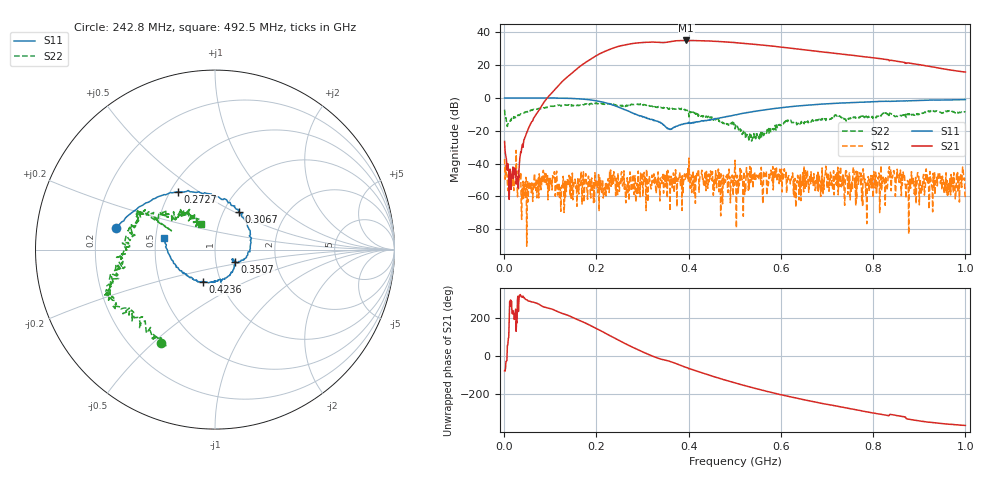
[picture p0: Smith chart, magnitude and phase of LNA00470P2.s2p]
! Created with skrf 1.9.0 (http://scikit-rf.org).
# Hz S RI R 50.0
!freq ReS11 ImS11 ReS21 ImS21 ReS12 ImS12 ReS22 ImS22
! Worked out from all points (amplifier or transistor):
!   1001 points, 1 MHz to 1 GHz, reference 50 ohm
!   highest |S21| = 35.1 dB at 394.6 MHz (marker M1)
!   |S21| within 3 dB of that: 256.9 MHz to 565.8 MHz (308.9 MHz wide, 75.1 % of centre)
!   unconditionally stable (mu >= 1): 259.8 MHz to 290.7 MHz; 290.7 MHz to 400.5 MHz; 400.7 MHz to end of sweep (the widest 3 of 40)
!   at 166.8 MHz: K = 1.30, MAG = 29.0 dB, |S12| = -44.8 dB
!   at 500.5 MHz: K = 1.05, MAG = 34.6 dB, |S12| = -38.0 dB
!   at 1 GHz: K = 15.15, MAG = 23.4 dB, |S12| = -60.7 dB
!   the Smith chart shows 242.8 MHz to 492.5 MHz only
!   S11 on the Smith chart (normalised r, x): 242.8 MHz: 0.28, +0.10; 272.7 MHz: 0.55, +0.41; 306.7 MHz: 1.17, +0.53; 350.6 MHz: 1.23, -0.18; 423.6 MHz: 0.82, -0.31; 492.5 MHz: 0.56, +0.08
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1000000  0.9959 0.0128  0.0106 -0.0459  -0.0128 0.00517  0.3085 0.3121
1.09891e8  0.5197 -0.8516  -0.8493 -1.587  0.00167 0.00268  0.4504 -0.3543
1.67833e8  -0.2148 -0.9059  -9.995 -0.7223  0.0034 -4.76e-05  0.0697 -0.6139
2.09791e8  -0.6528 -0.406  -16.08 16.82  0.00257 -0.00165  -0.1843 -0.6573
2.42758e8  -0.5504 0.1179  -0.4834 35.56  -0.00159 0.00139  -0.2994 -0.5232
2.72728e8  -0.2046 0.3215  26.07 36.45  -0.00551 -0.000848  -0.5057 -0.3253
3.06694e8  0.1319 0.2115  48.08 13.65  -0.00207 0.000452  -0.5833 -0.1935
3.34666e8  0.1854 -0.0125  49.04 -9.648  -0.00108 -0.00221  -0.5485 -0.0431
3.5065e8  0.1104 -0.0704  46.35 -18.06  0.00105 0.00466  -0.4842 0.0318
3.7063e8  0.1087 -0.0687  44.34 -33.02  -0.00237 0.000783  -0.4253 0.163
3.94606e8  0.0649 -0.1553  29.35 -48.79  0.00166 0.00386  -0.3825 0.1927
4.23577e8  -0.0668 -0.179  6.285 -55.71  0.00256 0.00175  -0.2267 0.1885
4.55545e8  -0.2032 -0.1078  -16.86 -50.95  0.00118 0.000953  -0.1362 0.1838
4.92508e8  -0.2818 0.0649  -35.03 -35.42  0.00306 0.000781  -0.0768 0.1453
5.005e8  -0.283 0.1154  -37.91 -31.18  0.0109 -0.00633  -0.0911 0.0683
5.4046e8  -0.2303 0.3121  -42.43 -9.979  0.00331 0.00199  -0.0605 0.014
5.88412e8  -0.0484 0.4787  -35.84 10.36  0.00198 -0.00347  -0.1146 -0.0647
6.67333e8  0.3173 0.5316  -14.64 23.3  -0.000195 -0.00323  -0.1989 -0.0289
7.55245e8  0.6261 0.3693  2.846 19.79  -0.0014 -0.000828  -0.2479 0.0375
8.34166e8  0.7787 0.149  9.795 10.48  -0.0034 -0.00383  -0.2924 0.0151
9.09091e8  0.8452 -0.1014  9.486 2.757  -0.00403 0.00226  -0.2874 0.1857
1e9  0.8108 -0.3785  6.189 -0.4806  -0.000274 -0.000885  -0.2121 0.3118
